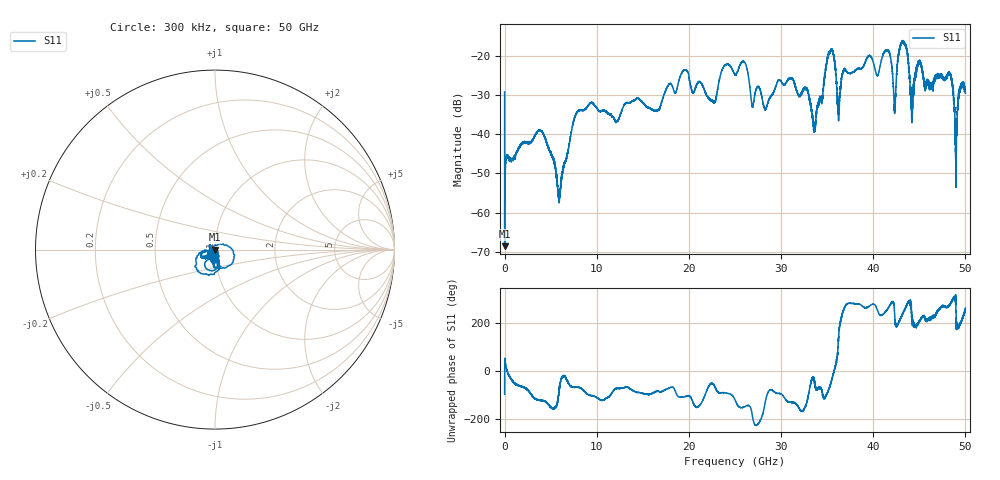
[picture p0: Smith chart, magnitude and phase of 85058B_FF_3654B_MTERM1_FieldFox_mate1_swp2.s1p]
!Created with skrf (http://scikit-rf.org).
# Hz S RI R 50.0
!freq ReS11 ImS11
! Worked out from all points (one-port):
!   10001 points, 300 kHz to 50 GHz, reference 50 ohm
!   lowest |S11| = -68.6 dB at 5.3 MHz (marker M1), VSWR 1.00, Z = 50 - j0.00186 ohm
!   |S11| at or under -10 dB: start of sweep to end of sweep
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300000  -0.00456 -0.0346
5299970  0.00037 -1.86e-05
2.552985e8  0.00515 0.000328
3.850277e9  -0.00611 -0.00957
5.860265e9  -0.000347 -0.00147
6.250262e9  0.0028 -0.00158
7.960252e9  0.00746 -0.0184
1.250022e10  0.00499 -0.0165
1.875019e10  -0.00942 -0.0397
2.265516e10  0.0151 -0.0218
2.500015e10  -0.0302 -0.0498
2.600514e10  -0.0738 -0.0422
2.686514e10  -0.0227 0.0011
2.829513e10  -0.0126 -0.0162
3.125011e10  -0.0343 -0.0385
3.36051e10  0.00874 -0.00814
3.531009e10  0.0536 -0.1036
3.623008e10  -0.0123 0.0162
3.750008e10  0.0139 -0.0586
4.153005e10  -0.0252 -0.1174
4.232505e10  -0.0121 -0.0194
4.302504e10  -0.102 -0.1055
4.375004e10  0.0241 -0.0941
4.420503e10  -0.0153 -0.0192
4.495003e10  -0.0748 -0.0409
4.829501e10  0.00597 -0.0594
4.897001e10  -0.00018 -0.00455
5e10  -0.00446 -0.0333
